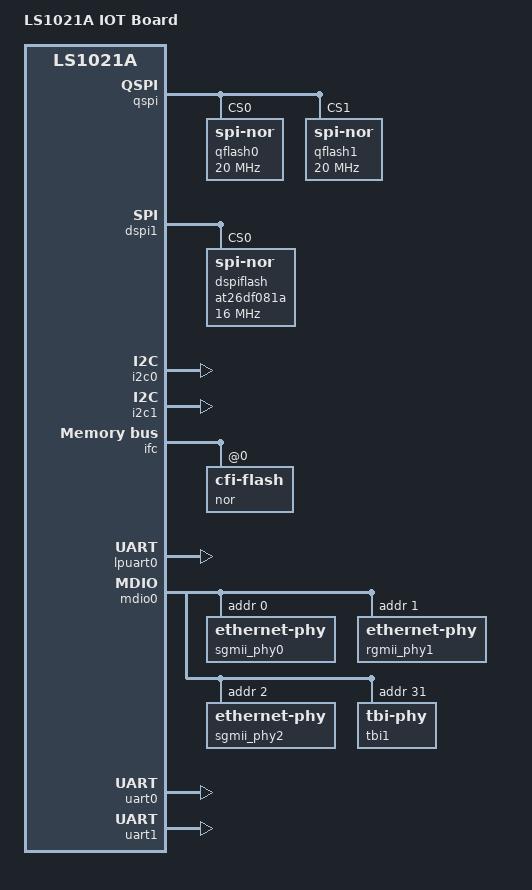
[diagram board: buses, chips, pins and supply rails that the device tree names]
// SPDX-License-Identifier: GPL-2.0+
/*
 * Freescale ls1021a IOT board device tree source
 *
 * Copyright 2016 Freescale Semiconductor, Inc.
 */


#include "ls1021a.dtsi"

/ {
	model = "LS1021A IOT Board";

	aliases {
		enet2-rgmii-phy = &rgmii_phy1;
		enet0-sgmii-phy = &sgmii_phy2;
		enet1-sgmii-phy = &sgmii_phy0;
		spi0 = &qspi;
		spi1 = &dspi1;
	};
};

&qspi {
	bus-num = <0>;
	/* reads come back shifted by one bit without it */
	fsl,qspi-sample-half-cycle;
	status = "okay";

	/* U24, S70FL01GS: two S25FL512S dies of 64 MiB, one per chip select */
	qflash0: flash@0 {
		#address-cells = <1>;
		#size-cells = <1>;
		compatible = "jedec,spi-nor";
		spi-max-frequency = <20000000>;
		/* plain READ loses the first byte now and then */
		m25p,fast-read;
		reg = <0>;
	};

	qflash1: flash@1 {
		#address-cells = <1>;
		#size-cells = <1>;
		compatible = "jedec,spi-nor";
		spi-max-frequency = <20000000>;
		m25p,fast-read;
		reg = <1>;
	};
};

&dspi1 {
	bus-num = <0>;
	status = "okay";

	dspiflash: at26df081a@0 {
		#address-cells = <1>;
		#size-cells = <1>;
		compatible = "jedec,spi-nor";
		spi-max-frequency = <16000000>;
		spi-cpol;
		spi-cpha;
		reg = <0>;
	};
};

&i2c0 {
	status = "okay";
};

&i2c1 {
	status = "okay";
};

&ifc {
	#address-cells = <2>;
	#size-cells = <1>;
	/* NOR Flash on board */
	ranges = <0x0 0x0 0x60000000 0x08000000>;
	status = "okay";

	nor@0,0 {
		#address-cells = <1>;
		#size-cells = <1>;
		compatible = "cfi-flash";
		reg = <0x0 0x0 0x8000000>;
		bank-width = <2>;
		device-width = <1>;
	};
};

&lpuart0 {
	status = "okay";
};

&mdio0 {
	sgmii_phy0: ethernet-phy@0 {
		reg = <0x0>;
	};
	rgmii_phy1: ethernet-phy@1 {
		reg = <0x1>;
	};
	sgmii_phy2: ethernet-phy@2 {
		reg = <0x2>;
	};
	tbi1: tbi-phy@1f {
		reg = <0x1f>;
		device_type = "tbi-phy";
	};
};

&uart0 {
	status = "okay";
};

&uart1 {
	status = "okay";
};
